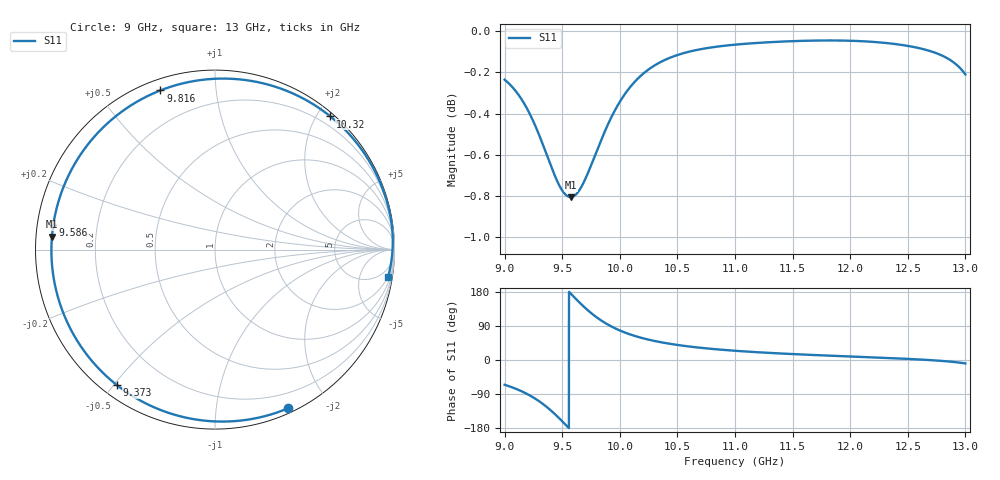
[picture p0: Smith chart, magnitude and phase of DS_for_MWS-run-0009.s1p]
! TOUCHSTONE file generated by CST DESIGN STUDIO
! Date and time: Tue Feb  4 12:57:30 2025
! Project name: C:\Work\MatlabApps\UnitCellOptimizationMatlab\CST\unitcell.cst
! Tree item: Tasks\Sweep1\SPara1\S-Parameters
! Header version: 2024
! Port assignment regex: !\s*Touchstone port\s*([0-9]+)\s*=\s*(CST MWS port|CST DES external port|CST DES block port)\s*(.+)\s* \(\"(.*)\"\)(\s*mode\s*([0-9]+))?.*
! Touchstone port assignment:
! Touchstone port 1 = CST DES external port 1 ("")
# GHz S MA R 50
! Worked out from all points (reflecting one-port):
!   4001 points, 9 GHz to 13 GHz, reference 50 ohm
!   lowest |S11| = -0.8 dB at 9.573 GHz (marker M1), VSWR 21.56, Z = 2.32 + j1.97 ohm
!   phase of S11 starts at -65 deg and turns -304 deg over the sweep
!   S11 on the Smith chart (normalised r, x): 9 GHz: 0.05, -1.56; 9.373 GHz: 0.04, -0.51; 9.586 GHz: 0.05, +0.08; 9.816 GHz: 0.05, +0.71; 10.32 GHz: 0.05, +2.19; 13 GHz: 2, -12
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9  0.9733 -65.3
9.044  0.9708 -69.8
9.11  0.966 -77.5
9.225  0.954 -94.6
9.303  0.9431 -109.5
9.373  0.932 -125.7
9.434  0.9226 -142.0
9.5  0.9148 -161.6
9.537  0.9122 -173.1
9.573  0.9114 175.5
9.586  0.9115 171.4
9.641  0.9142 154.4
9.704  0.9211 136.2
9.759  0.9289 121.9
9.816  0.9376 108.9
9.898  0.9493 93.2
10  0.9613 77.9
10.071  0.9678 69.5
10.146  0.9732 62.0
10.319  0.9817 49.1
10.5  0.9868 39.7
10.72  0.9902 31.6
11  0.9925 24.4
11.5  0.9945 15.7
12  0.9947 9.3
12.5  0.9918 2.9
12.793  0.9866 -2.3
13  0.9761 -9.0
